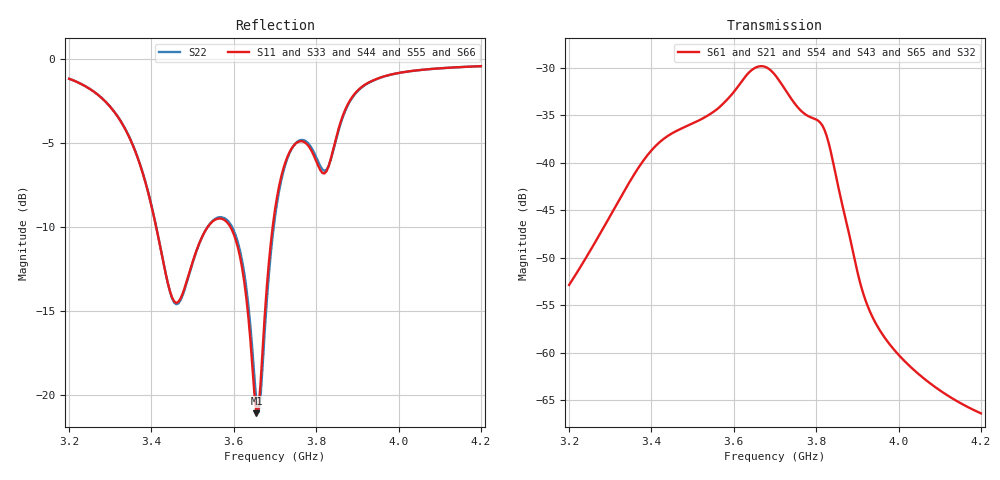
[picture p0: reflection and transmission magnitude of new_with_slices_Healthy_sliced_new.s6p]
! Touchstone file exported from HFSS 2024.2.0
!  File:  D:/Jatin/new_with_slices.aedt
!  Generated:  02:32:42 AM Oct  4, 2026
!  Design:  Healthy_sliced
!  Project:  new_with_slices
!  Setup:  Setup1
!  Solution:  Sweep
! Variables:
!  $L = 85mm
!  $W = 35mm
!  H = 1.575mm
!  L = 42mm
!  W = 35mm
!  Wb = 6mm
!  a = 3.5mm
!  ant_dist = 115mm
!  ant_gap = 3mm
!  b = 5mm
!  c = 5mm
!  d = 2mm
!  e_S1 = 0mm
!  e_S2 = 0mm
!  e_S3 = 0mm
!  e_S4 = 0mm
!  e_S5 = 0mm
!  e_S6 = 0mm
!  g1 = 2mm
!  g2 = 2mm
!  g3 = 1mm
!  g4 = 2mm
!  gap = 10mm
!  r1 = 3.5mm
!  r2 = 6mm
!  r_brain = 95mm
!  r_brain_ad = 61.68mm
!  r_csf = 95.5mm
!  r_csf_expanded = 64.6mm
!  r_csf_inner = 61.68mm
!  r_csf_outer = 83.5mm
!  r_fat = 87.5mm
!  r_gray = 70.55mm
!  r_gray_healthy = 83mm
!  r_grey_healthy = 83mm
!  r_hip = 25mm
!  r_hippo_healthy = 25mm
!  r_skin = 88mm
!  r_skull = 86.5mm
!  r_white = 17.5mm
!  r_white_healthy = 76mm
!  slot_distance = 15mm
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# GHz S MA R 50.000000
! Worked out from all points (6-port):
!   201 points, 3.2 GHz to 4.2 GHz, reference 50 ohm
!   strongest paths, dB at 3.2 GHz, 3.45 GHz, 3.7 GHz, 3.95 GHz, 4.2 GHz:
!     S61: -52.9, -36.9, -30.7, -57.3, -66.4
!     S21: -52.9, -36.9, -30.8, -57.2, -66.3
!     S54: -52.9, -37.0, -30.8, -57.2, -66.1
!     S43: -53.0, -37.0, -30.8, -57.4, -66.4
!     S65: -52.9, -37.1, -30.8, -57.2, -66.5
!     S32: -52.9, -37.1, -30.8, -57.4, -66.5
!   lowest |S11| = -21.1 dB at 3.655 GHz (marker M1), VSWR 1.19, Z = 43.4 - j4.88 ohm
!   |S11| at or under -10 dB: 3.411 GHz to 3.537 GHz (125.7 MHz wide, 3.62 % of centre); 3.591 GHz to 3.694 GHz (103.1 MHz wide, 2.83 % of centre)
